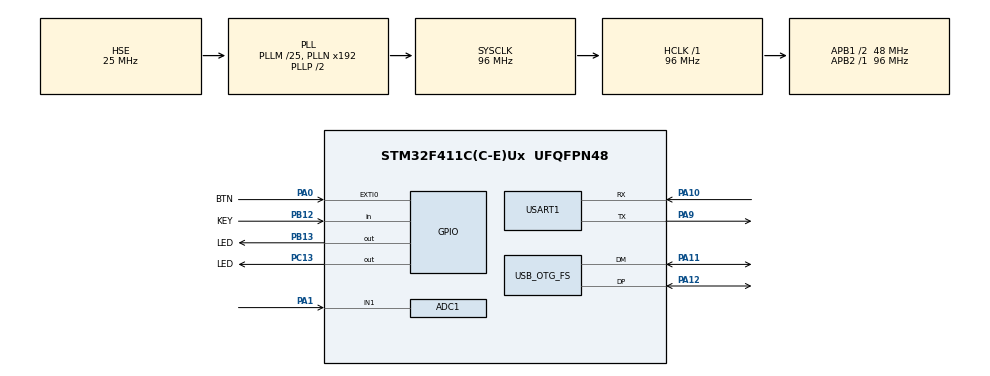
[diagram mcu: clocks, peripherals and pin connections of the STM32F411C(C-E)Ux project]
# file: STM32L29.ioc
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ADC1.Channel-0\#ChannelRegularConversion=ADC_CHANNEL_1
ADC1.NbrOfConversionFlag=1
ADC1.Rank-0\#ChannelRegularConversion=1
ADC1.SamplingTime-0\#ChannelRegularConversion=ADC_SAMPLETIME_84CYCLES
ADC1.master=1
Mcu.Family=STM32F4
Mcu.Name=STM32F411C(C-E)Ux
Mcu.Package=UFQFPN48
NVIC.ADC_IRQn=true\:0\:0\:false\:false\:true\:true\:true\:true
NVIC.EXTI0_IRQn=true\:0\:0\:false\:false\:true\:true\:true\:true
NVIC.OTG_FS_IRQn=true\:0\:0\:false\:false\:true\:false\:true\:true
NVIC.PriorityGroup=NVIC_PRIORITYGROUP_4
PA0-WKUP.GPIO_Label=BTN
PA0-WKUP.GPIO_ModeDefaultEXTI=GPIO_MODE_IT_FALLING
PA0-WKUP.GPIO_PuPd=GPIO_PULLUP
PA0-WKUP.Signal=GPXTI0
PA1.Signal=ADCx_IN1
PA10.Mode=Asynchronous
PA10.Signal=USART1_RX
PA11.Mode=Device_Only
PA11.Signal=USB_OTG_FS_DM
PA12.Mode=Device_Only
PA12.Signal=USB_OTG_FS_DP
PA13.GPIO_Label=LED
PA13.Mode=Serial_Wire
PA13.Signal=SYS_JTMS-SWDIO
PA14.Mode=Serial_Wire
PA14.Signal=SYS_JTCK-SWCLK
PA9.Mode=Asynchronous
PA9.Signal=USART1_TX
PB12.GPIO_Label=KEY
PB12.GPIO_Mode=GPIO_MODE_INPUT
PB12.GPIO_PuPd=GPIO_PULLUP
PB12.Signal=GPIO_Input
PB13.GPIO_Label=LED
PB13.PinState=GPIO_PIN_SET
PB13.Signal=GPIO_Output
PC13-ANTI_TAMP.GPIO_Label=LED
PC13-ANTI_TAMP.GPIO_PuPd=GPIO_NOPULL
PC13-ANTI_TAMP.Signal=GPIO_Output
PH0\ -\ OSC_IN.Mode=HSE-External-Oscillator
PH0\ -\ OSC_IN.Signal=RCC_OSC_IN
PH1\ -\ OSC_OUT.Mode=HSE-External-Oscillator
PH1\ -\ OSC_OUT.Signal=RCC_OSC_OUT
ProjectManager.HeapSize=0x200
ProjectManager.StackSize=0x400
ProjectManager.TargetToolchain=STM32CubeIDE
RCC.48MHZClocksFreq_Value=48000000
RCC.AHBFreq_Value=96000000
RCC.APB1CLKDivider=RCC_HCLK_DIV2
RCC.APB1Freq_Value=48000000
RCC.APB1TimFreq_Value=96000000
RCC.APB2Freq_Value=96000000
RCC.APB2TimFreq_Value=96000000
RCC.CortexFreq_Value=96000000
RCC.HCLKFreq_Value=96000000
RCC.HSE_VALUE=25000000
RCC.HSI_VALUE=16000000
RCC.LSE_VALUE=32768
RCC.PLLM=25
RCC.SYSCLKFreq_VALUE=96000000
RCC.SYSCLKSource=RCC_SYSCLKSOURCE_PLLCLK
RCC.VCOOutputFreq_Value=192000000
SH.ADCx_IN1.0=ADC1_IN1,IN1
USART1.VirtualMode=VM_ASYNC
USB_DEVICE.CLASS_NAME_FS=CDC
USB_DEVICE.VirtualMode=Cdc
USB_DEVICE.VirtualModeFS=Cdc_FS
USB_OTG_FS.VirtualMode=Device_Only
VP_USB_DEVICE_VS_USB_DEVICE_CDC_FS.Mode=CDC_FS
board=custom

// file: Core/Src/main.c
/* USER CODE BEGIN Header */
/**
  ******************************************************************************
  * @file           : main.c
  * @brief          : Main program body
  ******************************************************************************
  * @attention
  *
  * Copyright (c) 2026 STMicroelectronics.
  * All rights reserved.
  *
  * This software is licensed under terms that can be found in the LICENSE file
  * in the root directory of this software component.
  * If no LICENSE file comes with this software, it is provided AS-IS.
  *
  ******************************************************************************
  */
/* USER CODE END Header */
#include "main.h"
#include "usb_device.h"

/* USER CODE BEGIN Includes */
#include <stdio.h>
#include <string.h>
#include "usbd_cdc_if.h"
#include <stdbool.h>

/* USER CODE END Includes */

/* USER CODE BEGIN PD */
#define DEBOUNCE_MS 50
/* USER CODE END PD */

ADC_HandleTypeDef hadc1;

UART_HandleTypeDef huart1;

/* USER CODE BEGIN PV */

char buf[64];
int value = 0;
volatile uint8_t button_flag = 0;

bool isToggled = false;
bool isButtonClicked = false;

/* USER CODE END PV */

void SystemClock_Config(void);
static void MX_GPIO_Init(void);
static void MX_ADC1_Init(void);
static void MX_USART1_UART_Init(void);

/* USER CODE BEGIN 0 */
int serial_print(char *ptr, int len) {
    CDC_Transmit_FS((uint8_t*)ptr, len);
    HAL_Delay(1);
    return len;
}

/* USER CODE END 0 */

int main(void)
{

  /* MCU Configuration--------------------------------------------------------*/

  /* Reset of all peripherals, Initializes the Flash interface and the Systick. */
  HAL_Init();

  /* Configure the system clock */
  SystemClock_Config();

  /* Initialize all configured peripherals */
  MX_GPIO_Init();
  MX_USB_DEVICE_Init();
  MX_ADC1_Init();
  MX_USART1_UART_Init();
  /* USER CODE BEGIN 2 */
  HAL_GPIO_WritePin(LED_GPIO_Port, LED_Pin, GPIO_PIN_SET);
  /* USER CODE END 2 */

  /* Infinite loop */
  while (1)
  {

    /* USER CODE BEGIN 3 */
	  char msg[64];
	  int len;

	  if (button_flag) {
	          button_flag = 0;

	          uint8_t byte_to_send = 0x42;
	          HAL_UART_Transmit(&huart1, &byte_to_send, 1, 100);

	          len = snprintf(msg, sizeof(msg), "BTN: надіслано 0x%02X\r\n", byte_to_send);
	          serial_print(msg, len);
	      }

        uint8_t rx_byte;
        if (HAL_UART_Receive(&huart1, &rx_byte, 1, 1000) == HAL_OK) {
            isToggled = !isToggled;
            // светодиод инвертирован: RESET = горит
            HAL_GPIO_WritePin(LED_GPIO_Port, LED_Pin,
                                isToggled ? GPIO_PIN_RESET : GPIO_PIN_SET);
            len = snprintf(msg, sizeof(msg), "Отримано: 0x%02X ('%c')\r\n", rx_byte, rx_byte);
                       serial_print(msg, len);
        }

        HAL_Delay(1000);
  }
  /* USER CODE END 3 */
}

void SystemClock_Config(void)
{
  RCC_OscInitTypeDef RCC_OscInitStruct = {0};
  RCC_ClkInitTypeDef RCC_ClkInitStruct = {0};

  /** Configure the main internal regulator output voltage
  */
  __HAL_RCC_PWR_CLK_ENABLE();
  __HAL_PWR_VOLTAGESCALING_CONFIG(PWR_REGULATOR_VOLTAGE_SCALE1);

  /** Initializes the RCC Oscillators according to the specified parameters
  * in the RCC_OscInitTypeDef structure.
  */
  RCC_OscInitStruct.OscillatorType = RCC_OSCILLATORTYPE_HSE;
  RCC_OscInitStruct.HSEState = RCC_HSE_ON;
  RCC_OscInitStruct.PLL.PLLState = RCC_PLL_ON;
  RCC_OscInitStruct.PLL.PLLSource = RCC_PLLSOURCE_HSE;
  RCC_OscInitStruct.PLL.PLLM = 25;
  RCC_OscInitStruct.PLL.PLLN = 192;
  RCC_OscInitStruct.PLL.PLLP = RCC_PLLP_DIV2;
  RCC_OscInitStruct.PLL.PLLQ = 4;
  if (HAL_RCC_OscConfig(&RCC_OscInitStruct) != HAL_OK)
  {
    Error_Handler();
  }

  /** Initializes the CPU, AHB and APB buses clocks
  */
  RCC_ClkInitStruct.ClockType = RCC_CLOCKTYPE_HCLK|RCC_CLOCKTYPE_SYSCLK
                              |RCC_CLOCKTYPE_PCLK1|RCC_CLOCKTYPE_PCLK2;
  RCC_ClkInitStruct.SYSCLKSource = RCC_SYSCLKSOURCE_PLLCLK;
  RCC_ClkInitStruct.AHBCLKDivider = RCC_SYSCLK_DIV1;
  RCC_ClkInitStruct.APB1CLKDivider = RCC_HCLK_DIV2;
  RCC_ClkInitStruct.APB2CLKDivider = RCC_HCLK_DIV1;

  if (HAL_RCC_ClockConfig(&RCC_ClkInitStruct, FLASH_LATENCY_3) != HAL_OK)
  {
    Error_Handler();
  }
}

static void MX_ADC1_Init(void)
{

  ADC_ChannelConfTypeDef sConfig = {0};

  /** Configure the global features of the ADC (Clock, Resolution, Data Alignment and number of conversion)
  */
  hadc1.Instance = ADC1;
  hadc1.Init.ClockPrescaler = ADC_CLOCK_SYNC_PCLK_DIV4;
  hadc1.Init.Resolution = ADC_RESOLUTION_12B;
  hadc1.Init.ScanConvMode = DISABLE;
  hadc1.Init.ContinuousConvMode = DISABLE;
  hadc1.Init.DiscontinuousConvMode = DISABLE;
  hadc1.Init.ExternalTrigConvEdge = ADC_EXTERNALTRIGCONVEDGE_NONE;
  hadc1.Init.ExternalTrigConv = ADC_SOFTWARE_START;
  hadc1.Init.DataAlign = ADC_DATAALIGN_RIGHT;
  hadc1.Init.NbrOfConversion = 1;
  hadc1.Init.DMAContinuousRequests = DISABLE;
  hadc1.Init.EOCSelection = ADC_EOC_SINGLE_CONV;
  if (HAL_ADC_Init(&hadc1) != HAL_OK)
  {
    Error_Handler();
  }

  /** Configure for the selected ADC regular channel its corresponding rank in the sequencer and its sample time.
  */
  sConfig.Channel = ADC_CHANNEL_1;
  sConfig.Rank = 1;
  sConfig.SamplingTime = ADC_SAMPLETIME_84CYCLES;
  if (HAL_ADC_ConfigChannel(&hadc1, &sConfig) != HAL_OK)
  {
    Error_Handler();
  }

}

static void MX_USART1_UART_Init(void)
{

  huart1.Instance = USART1;
  huart1.Init.BaudRate = 115200;
  huart1.Init.WordLength = UART_WORDLENGTH_8B;
  huart1.Init.StopBits = UART_STOPBITS_1;
  huart1.Init.Parity = UART_PARITY_NONE;
  huart1.Init.Mode = UART_MODE_TX_RX;
  huart1.Init.HwFlowCtl = UART_HWCONTROL_NONE;
  huart1.Init.OverSampling = UART_OVERSAMPLING_16;
  if (HAL_UART_Init(&huart1) != HAL_OK)
  {
    Error_Handler();
  }

}

static void MX_GPIO_Init(void)
{
  GPIO_InitTypeDef GPIO_InitStruct = {0};

  /* GPIO Ports Clock Enable */
  __HAL_RCC_GPIOC_CLK_ENABLE();
  __HAL_RCC_GPIOH_CLK_ENABLE();
  __HAL_RCC_GPIOA_CLK_ENABLE();
  __HAL_RCC_GPIOB_CLK_ENABLE();

  /*Configure GPIO pin Output Level */
  HAL_GPIO_WritePin(LED_GPIO_Port, LED_Pin, GPIO_PIN_RESET);

  /*Configure GPIO pin Output Level */
  HAL_GPIO_WritePin(LEDB13_GPIO_Port, LEDB13_Pin, GPIO_PIN_SET);

  /*Configure GPIO pin : LED_Pin */
  GPIO_InitStruct.Pin = LED_Pin;
  GPIO_InitStruct.Mode = GPIO_MODE_OUTPUT_PP;
  GPIO_InitStruct.Pull = GPIO_NOPULL;
  GPIO_InitStruct.Speed = GPIO_SPEED_FREQ_LOW;
  HAL_GPIO_Init(LED_GPIO_Port, &GPIO_InitStruct);

  /*Configure GPIO pin : BTN_Pin */
  GPIO_InitStruct.Pin = BTN_Pin;
  GPIO_InitStruct.Mode = GPIO_MODE_IT_FALLING;
  GPIO_InitStruct.Pull = GPIO_PULLUP;
  HAL_GPIO_Init(BTN_GPIO_Port, &GPIO_InitStruct);

  /*Configure GPIO pin : KEY_Pin */
  GPIO_InitStruct.Pin = KEY_Pin;
  GPIO_InitStruct.Mode = GPIO_MODE_INPUT;
  GPIO_InitStruct.Pull = GPIO_PULLUP;
  HAL_GPIO_Init(KEY_GPIO_Port, &GPIO_InitStruct);

  /*Configure GPIO pin : LEDB13_Pin */
  GPIO_InitStruct.Pin = LEDB13_Pin;
  GPIO_InitStruct.Mode = GPIO_MODE_OUTPUT_PP;
  GPIO_InitStruct.Pull = GPIO_NOPULL;
  GPIO_InitStruct.Speed = GPIO_SPEED_FREQ_LOW;
  HAL_GPIO_Init(LEDB13_GPIO_Port, &GPIO_InitStruct);

  /* EXTI interrupt init*/
  HAL_NVIC_SetPriority(EXTI0_IRQn, 0, 0);
  HAL_NVIC_EnableIRQ(EXTI0_IRQn);

}

/* USER CODE BEGIN 4 */
void HAL_GPIO_EXTI_Callback(uint16_t GPIO_Pin)
{
	 static uint32_t last = 0;

	    if (GPIO_Pin == BTN_Pin) {
	        uint32_t now = HAL_GetTick();
	        if (now - last > DEBOUNCE_MS) {
	            button_flag = 1;
	            last = now;
	        }
	    }

}

/* USER CODE END 4 */

void Error_Handler(void)
{
  __disable_irq();
  while (1)
  {
  }
}
